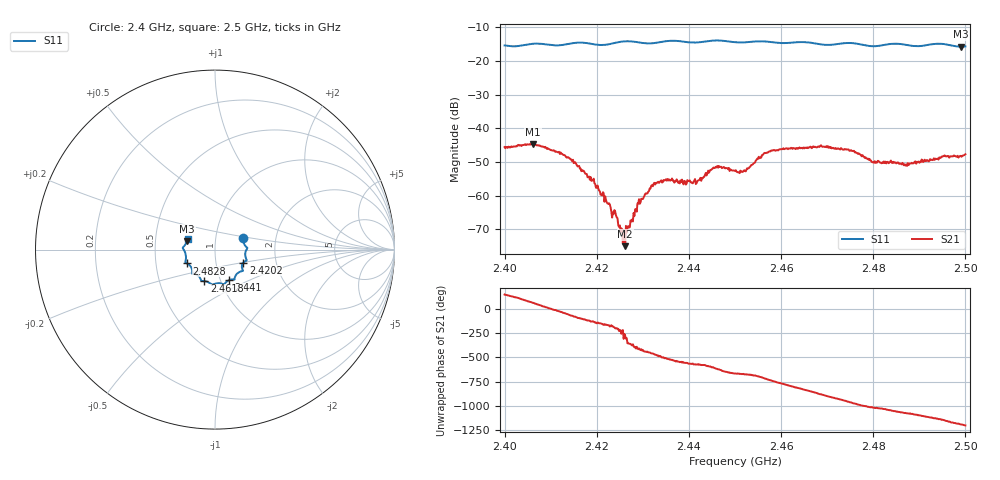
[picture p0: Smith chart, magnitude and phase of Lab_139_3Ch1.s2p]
# Hz S RI R 50
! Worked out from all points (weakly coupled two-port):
!   601 points, 2.4 GHz to 2.5 GHz, reference 50 ohm
!   highest |S21| = -44.63 dB at 2.4062 GHz (marker M1); lowest = -74.9 dB at 2.4262 GHz (marker M2)
!   lowest |S11| = -15.8 dB at 2.499 GHz (marker M3), VSWR 1.39, Z = 36.4 + j3.53 ohm
!   |S11| at or under -10 dB: start of sweep to end of sweep
!   S12 and S22 are empty: the file has one direction only
!   S11 on the Smith chart (normalised r, x): 2.4 GHz: 1.36, +0.17; 2.4202 GHz: 1.36, -0.20; 2.441 GHz: 1.10, -0.39; 2.4618 GHz: 0.84, -0.30; 2.4828 GHz: 0.72, -0.11; 2.5 GHz: 0.73, +0.09
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2.4e9  0.1579 0.0621  -0.00438 0.00293  0 0  0 0
2.406167e9  0.1794 0.0111  0.00289 0.0051  0 0  0 0
2.412667e9  0.1692 -0.0365  0.00307 -0.00269  0 0  0 0
2.416667e9  0.1768 -0.0605  -0.000533 -0.00225  0 0  0 0
2.420167e9  0.1578 -0.0719  -0.00113 -0.00086  0 0  0 0
2.424e9  0.1517 -0.1066  -0.000541 0.000214  0 0  0 0
2.425667e9  0.1557 -0.1162  -0.00015 0.000123  0 0  0 0
2.426167e9  0.1564 -0.1177  3.03e-05 0.000176  0 0  0 0
2.429333e9  0.1421 -0.1223  0.000373 -0.000663  0 0  0 0
2.433333e9  0.1118 -0.1511  -0.00085 -0.00137  0 0  0 0
2.441e9  0.0781 -0.1702  -0.00134 0.000893  0 0  0 0
2.445667e9  0.0508 -0.1944  -0.000761 0.00249  0 0  0 0
2.45e9  0.0277 -0.1874  0.00144 0.00186  0 0  0 0
2.452e9  0.00777 -0.1884  0.00173 0.00165  0 0  0 0
2.456833e9  -0.0193 -0.1927  0.00433 -0.000218  0 0  0 0
2.461833e9  -0.0597 -0.1757  0.00134 -0.00485  0 0  0 0
2.466667e9  -0.0787 -0.1678  -0.00358 -0.00359  0 0  0 0
2.474167e9  -0.1256 -0.1347  -0.00302 0.00384  0 0  0 0
2.482833e9  -0.1571 -0.077  0.00226 0.00201  0 0  0 0
2.483333e9  -0.1602 -0.0754  0.00239 0.00188  0 0  0 0
2.499e9  -0.1554 0.0472  -0.0014 -0.00365  0 0  0 0
2.5e9  -0.1523 0.0611  -0.00222 -0.00348  0 0  0 0
